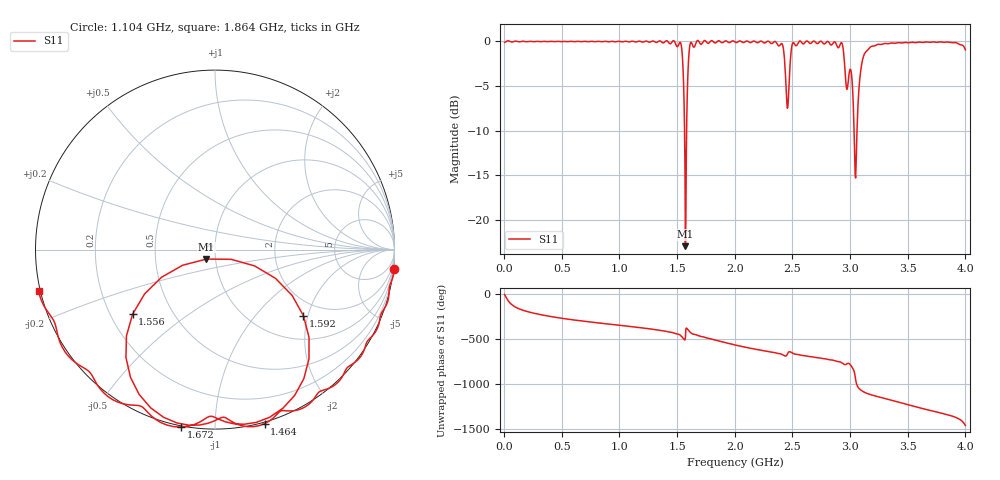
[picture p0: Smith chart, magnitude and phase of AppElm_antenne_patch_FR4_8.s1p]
! TOUCHSTONE file generated by CST MICROWAVE STUDIO
! Date and time: Tue Jun  7 21:31:20 2022
! Project name: AppElm_antenne_patch_FR4.cst
! Parameters = {L=45; W=58.5; e=0.035; h=1.6; lambda=0.190476; ls=120; w0=1.76; w1=0.533; ws=120; y0=20; y1=23.81}
! Header version: 2018
! Port assignment regex: !\s*Touchstone port\s*([0-9]+)\s*=\s*(CST MWS port|CST DS port)\s*([0-9]+|Zmin|Zmax)\s*\(\"(.*)\"\)(\s*mode\s*([0-9]+))?.*
! Touchstone port assignment:
! Touchstone port 1 = CST MWS port 1 ("")
# GHz S MA R 50
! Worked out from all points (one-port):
!   1000 points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, 4 MHz to 4 GHz, reference 50 ohm
!   lowest |S11| = -23.0 dB at 1.572 GHz (marker M1), VSWR 1.15, Z = 45.2 - j4.79 ohm
!   |S11| at or under -10 dB: 1.564 GHz to 1.583 GHz (18.06 MHz wide, 1.15 % of centre); 3.034 GHz to 3.06 GHz (25.58 MHz wide, 0.84 % of centre)
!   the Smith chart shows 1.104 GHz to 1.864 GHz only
!   S11 on the Smith chart (normalised r, x): 1.104 GHz: -0, -19; 1.464 GHz: -0.01, -1.32; 1.556 GHz: 0.29, -0.32; 1.592 GHz: 1.58, -1.88; 1.672 GHz: -0.01, -0.83; 1.864 GHz: -0.00, -0.11
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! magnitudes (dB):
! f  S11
! 4 MHz  -0.1
! 504 MHz  0.0
! 1.004 GHz  0.0
! 1.104 GHz  0.0
! 1.464 GHz  0.1
! 1.504 GHz  -0.6
! 1.536 GHz  -0.4
! 1.548 GHz  -2.2
! 1.556 GHz  -4.7
! 1.572 GHz  -23.0
! 1.592 GHz  -4.2
! 1.6 GHz  -1.9
! 1.612 GHz  -0.3
! 1.672 GHz  0.1
! 1.864 GHz  0.1
! 2.004 GHz  -0.1
! 2.4 GHz  -0.3
! 2.456 GHz  -7.5
! 2.504 GHz  -0.1
! 2.92 GHz  -0.2
! 2.968 GHz  -5.2
! 3.004 GHz  -3.1
! 3.048 GHz  -15.3
! 3.06 GHz  -10.0
! 3.092 GHz  -3.3
! 3.132 GHz  -1.2
! 3.504 GHz  -0.1
! 4 GHz  -0.9
